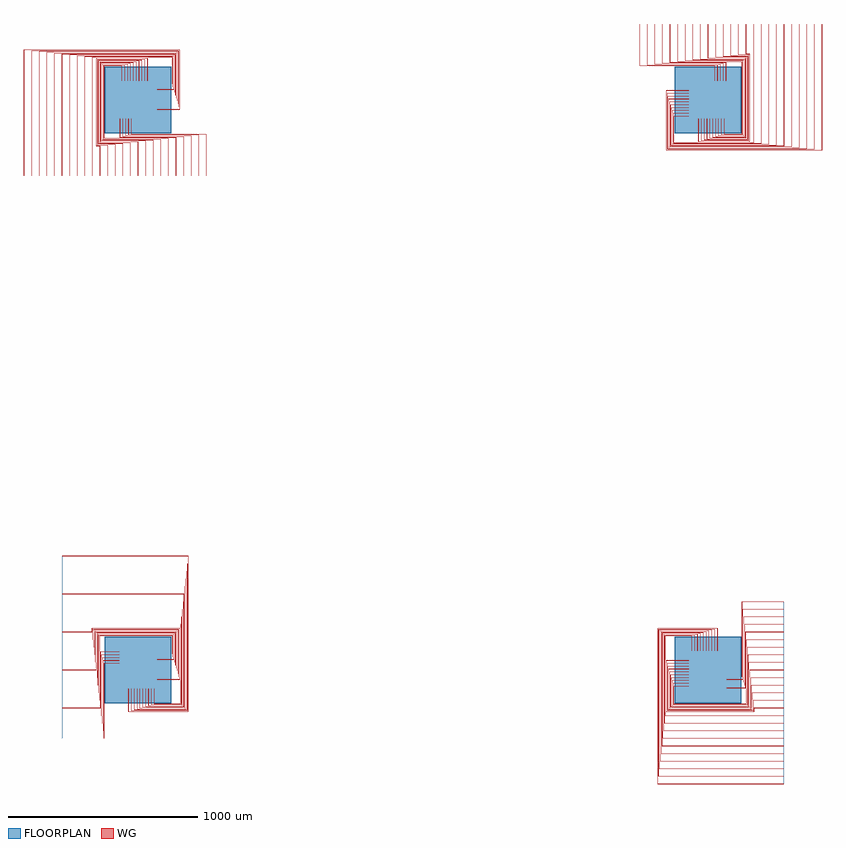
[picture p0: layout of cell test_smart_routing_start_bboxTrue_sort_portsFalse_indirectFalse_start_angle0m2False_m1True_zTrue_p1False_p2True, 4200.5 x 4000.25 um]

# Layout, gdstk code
import gdstk
lib = gdstk.Library(unit=1e-6, precision=1e-09)
def R(c, l, rs):  # rectangles x0, y0, x1, y1
    for r in rs: c.add(gdstk.rectangle(r[:2], r[2:], *l))
def P(c, l, *ps):  # polygons
    for p in ps: c.add(gdstk.Polygon(p, *l))
WG = (1, 0)
FLOORPLAN = (10, 0)

test_smart_routing_start = lib.new_cell('test_smart_routing_start_bboxTrue_sort_portsFalse_indirectFalse_start_angle0m2False_m1True_zTrue_p1False_p2True')
P(test_smart_routing_start, WG, [(-50.25,-220),(-50.25,-100),(-49.75,-100),(-49.75,-219.5),(264.5,-219.5),(264.5,599.75),(-400,599.75),(-400,600.25),(265,600.25),(265,-220)],
  [(-35.25,-215.5),(-35.25,-100),(-34.75,-100),(-34.75,-215),(260,-215),(260,559.75),(-400,559.75),(-400,560.25),(260.5,560.25),(260.5,-215.5)],
  [(-20.25,-211),(-20.25,-100),(-19.75,-100),(-19.75,-210.5),(255.5,-210.5),(255.5,519.75),(-400,519.75),(-400,520.25),(256,520.25),(256,-211)],
  [(-5.25,-206.5),(-5.25,-100),(-4.75,-100),(-4.75,-206),(251,-206),(251,479.75),(-400,479.75),(-400,480.25),(251.5,480.25),(251.5,-206.5)],
  [(9.75,-202),(9.75,-100),(10.25,-100),(10.25,-201.5),(246.5,-201.5),(246.5,439.75),(-400,439.75),(-400,440.25),(247,440.25),(247,-202)],
  [(24.75,-197.5),(24.75,-100),(25.25,-100),(25.25,-197),(242,-197),(242,399.75),(-400,399.75),(-400,400.25),(242.5,400.25),(242.5,-197.5)],
  [(39.75,-193),(39.75,-100),(40.25,-100),(40.25,-192.5),(237.5,-192.5),(237.5,359.75),(-400,359.75),(-400,360.25),(238,360.25),(238,-193)],
  [(54.75,-188.5),(54.75,-100),(55.25,-100),(55.25,-188),(233,-188),(233,319.75),(-400,319.75),(-400,320.25),(233.5,320.25),(233.5,-188.5)],
  [(69.75,-184),(69.75,-100),(70.25,-100),(70.25,-183.5),(228.5,-183.5),(228.5,279.75),(-400,279.75),(-400,280.25),(229,280.25),(229,-184)],
  [(84.75,-179.5),(84.75,-100),(85.25,-100),(85.25,-179),(224,-179),(224,239.75),(-400,239.75),(-400,240.25),(224.5,240.25),(224.5,-179.5)],
  [(100,-50.25),(100,-49.75),(219.5,-49.75),(219.5,219.5),(-242,219.5),(-242,199.75),(-400,199.75),(-400,200.25),(-242.5,200.25),(-242.5,220),(220,220),(220,-50.25)],
  [(100,-35.25),(100,-34.75),(215,-34.75),(215,215),(-237.5,215),(-237.5,159.75),(-400,159.75),(-400,160.25),(-238,160.25),(-238,215.5),(215.5,215.5),(215.5,-35.25)],
  [(100,-20.25),(100,-19.75),(210.5,-19.75),(210.5,210.5),(-233,210.5),(-233,119.75),(-400,119.75),(-400,120.25),(-233.5,120.25),(-233.5,211),(211,211),(211,-20.25)],
  [(100,-5.25),(100,-4.75),(206,-4.75),(206,206),(-228.5,206),(-228.5,79.75),(-400,79.75),(-400,80.25),(-229,80.25),(-229,206.5),(206.5,206.5),(206.5,-5.25)],
  [(100,9.75),(100,10.25),(201.5,10.25),(201.5,201.5),(-224,201.5),(-224,39.75),(-400,39.75),(-400,40.25),(-224.5,40.25),(-224.5,202),(202,202),(202,9.75)],
  [(-400,-0.25),(-400,0.25),(-220,0.25),(-220,197.5),(197.5,197.5),(197.5,24.75),(100,24.75),(100,25.25),(197,25.25),(197,197),(-219.5,197),(-219.5,-0.25)],
  [(-400,-40.25),(-400,-39.75),(-215.5,-39.75),(-215.5,193),(193,193),(193,39.75),(100,39.75),(100,40.25),(192.5,40.25),(192.5,192.5),(-215,192.5),(-215,-40.25)],
  [(-400,-80.25),(-400,-79.75),(-211,-79.75),(-211,188.5),(188.5,188.5),(188.5,54.75),(100,54.75),(100,55.25),(188,55.25),(188,188),(-210.5,188),(-210.5,-80.25)],
  [(-400,-120.25),(-400,-119.75),(-206.5,-119.75),(-206.5,184),(184,184),(184,69.75),(100,69.75),(100,70.25),(183.5,70.25),(183.5,183.5),(-206,183.5),(-206,-120.25)],
  [(-400,-160.25),(-400,-159.75),(-202,-159.75),(-202,179.5),(179.5,179.5),(179.5,84.75),(100,84.75),(100,85.25),(179,85.25),(179,179),(-201.5,179),(-201.5,-160.25)],
  [(-400,-360.25),(-400,-359.75),(-179.5,-359.75),(-179.5,35.25),(-100,35.25),(-100,34.75),(-179,34.75),(-179,-360.25)],
  [(-400,-320.25),(-400,-319.75),(-184,-319.75),(-184,50.25),(-100,50.25),(-100,49.75),(-183.5,49.75),(-183.5,-320.25)],
  [(-400,-280.25),(-400,-279.75),(-188.5,-279.75),(-188.5,65.25),(-100,65.25),(-100,64.75),(-188,64.75),(-188,-280.25)],
  [(-400,-240.25),(-400,-239.75),(-193,-239.75),(-193,80.25),(-100,80.25),(-100,79.75),(-192.5,79.75),(-192.5,-240.25)],
  [(-400,-200.25),(-400,-199.75),(-197.5,-199.75),(-197.5,95.25),(-100,95.25),(-100,94.75),(-197,94.75),(-197,-200.25)],
  [(-600.25,2600),(-600.25,3265),(220,3265),(220,2949.75),(100,2949.75),(100,2950.25),(219.5,2950.25),(219.5,3264.5),(-599.75,3264.5),(-599.75,2600)],
  [(-560.25,2600),(-560.25,3260.5),(215.5,3260.5),(215.5,2964.75),(100,2964.75),(100,2965.25),(215,2965.25),(215,3260),(-559.75,3260),(-559.75,2600)],
  [(-520.25,2600),(-520.25,3256),(211,3256),(211,2979.75),(100,2979.75),(100,2980.25),(210.5,2980.25),(210.5,3255.5),(-519.75,3255.5),(-519.75,2600)],
  [(-480.25,2600),(-480.25,3251.5),(206.5,3251.5),(206.5,2994.75),(100,2994.75),(100,2995.25),(206,2995.25),(206,3251),(-479.75,3251),(-479.75,2600)],
  [(-440.25,2600),(-440.25,3247),(202,3247),(202,3009.75),(100,3009.75),(100,3010.25),(201.5,3010.25),(201.5,3246.5),(-439.75,3246.5),(-439.75,2600)],
  [(-400.25,2600),(-400.25,3242.5),(197.5,3242.5),(197.5,3024.75),(100,3024.75),(100,3025.25),(197,3025.25),(197,3242),(-399.75,3242),(-399.75,2600)],
  [(-360.25,2600),(-360.25,3238),(193,3238),(193,3039.75),(100,3039.75),(100,3040.25),(192.5,3040.25),(192.5,3237.5),(-359.75,3237.5),(-359.75,2600)],
  [(-320.25,2600),(-320.25,3233.5),(188.5,3233.5),(188.5,3054.75),(100,3054.75),(100,3055.25),(188,3055.25),(188,3233),(-319.75,3233),(-319.75,2600)],
  [(-280.25,2600),(-280.25,3229),(184,3229),(184,3069.75),(100,3069.75),(100,3070.25),(183.5,3070.25),(183.5,3228.5),(-279.75,3228.5),(-279.75,2600)],
  [(-240.25,2600),(-240.25,3224.5),(179.5,3224.5),(179.5,3084.75),(100,3084.75),(100,3085.25),(179,3085.25),(179,3224),(-239.75,3224),(-239.75,2600)],
  [(-200.25,2600),(-200.25,2757.5),(-220,2757.5),(-220,3220),(50.25,3220),(50.25,3100),(49.75,3100),(49.75,3219.5),(-219.5,3219.5),(-219.5,2758),(-199.75,2758),(-199.75,2600)],
  [(-160.25,2600),(-160.25,2762),(-215.5,2762),(-215.5,3215.5),(35.25,3215.5),(35.25,3100),(34.75,3100),(34.75,3215),(-215,3215),(-215,2762.5),(-159.75,2762.5),(-159.75,2600)],
  [(-120.25,2600),(-120.25,2766.5),(-211,2766.5),(-211,3211),(20.25,3211),(20.25,3100),(19.75,3100),(19.75,3210.5),(-210.5,3210.5),(-210.5,2767),(-119.75,2767),(-119.75,2600)],
  [(-80.25,2600),(-80.25,2771),(-206.5,2771),(-206.5,3206.5),(5.25,3206.5),(5.25,3100),(4.75,3100),(4.75,3206),(-206,3206),(-206,2771.5),(-79.75,2771.5),(-79.75,2600)],
  [(-40.25,2600),(-40.25,2775.5),(-202,2775.5),(-202,3202),(-9.75,3202),(-9.75,3100),(-10.25,3100),(-10.25,3201.5),(-201.5,3201.5),(-201.5,2776),(-39.75,2776),(-39.75,2600)],
  [(-0.25,2600),(-0.25,2780),(-197.5,2780),(-197.5,3197.5),(-24.75,3197.5),(-24.75,3100),(-25.25,3100),(-25.25,3197),(-197,3197),(-197,2780.5),(0.25,2780.5),(0.25,2600)],
  [(39.75,2600),(39.75,2784.5),(-193,2784.5),(-193,3193),(-39.75,3193),(-39.75,3100),(-40.25,3100),(-40.25,3192.5),(-192.5,3192.5),(-192.5,2785),(40.25,2785),(40.25,2600)],
  [(79.75,2600),(79.75,2789),(-188.5,2789),(-188.5,3188.5),(-54.75,3188.5),(-54.75,3100),(-55.25,3100),(-55.25,3188),(-188,3188),(-188,2789.5),(80.25,2789.5),(80.25,2600)],
  [(119.75,2600),(119.75,2793.5),(-184,2793.5),(-184,3184),(-69.75,3184),(-69.75,3100),(-70.25,3100),(-70.25,3183.5),(-183.5,3183.5),(-183.5,2794),(120.25,2794),(120.25,2600)],
  [(159.75,2600),(159.75,2798),(-179.5,2798),(-179.5,3179.5),(-84.75,3179.5),(-84.75,3100),(-85.25,3100),(-85.25,3179),(-179,3179),(-179,2798.5),(160.25,2798.5),(160.25,2600)],
  [(359.75,2600),(359.75,2820.5),(-35.25,2820.5),(-35.25,2900),(-34.75,2900),(-34.75,2821),(360.25,2821),(360.25,2600)],
  [(319.75,2600),(319.75,2816),(-50.25,2816),(-50.25,2900),(-49.75,2900),(-49.75,2816.5),(320.25,2816.5),(320.25,2600)],
  [(279.75,2600),(279.75,2811.5),(-65.25,2811.5),(-65.25,2900),(-64.75,2900),(-64.75,2812),(280.25,2812),(280.25,2600)],
  [(239.75,2600),(239.75,2807),(-80.25,2807),(-80.25,2900),(-79.75,2900),(-79.75,2807.5),(240.25,2807.5),(240.25,2600)],
  [(199.75,2600),(199.75,2802.5),(-95.25,2802.5),(-95.25,2900),(-94.75,2900),(-94.75,2803),(200.25,2803),(200.25,2600)],
  [(2735,-600.25),(2735,220),(3050.25,220),(3050.25,100),(3049.75,100),(3049.75,219.5),(2735.5,219.5),(2735.5,-599.75),(3400,-599.75),(3400,-600.25)],
  [(2739.5,-560.25),(2739.5,215.5),(3035.25,215.5),(3035.25,100),(3034.75,100),(3034.75,215),(2740,215),(2740,-559.75),(3400,-559.75),(3400,-560.25)],
  [(2744,-520.25),(2744,211),(3020.25,211),(3020.25,100),(3019.75,100),(3019.75,210.5),(2744.5,210.5),(2744.5,-519.75),(3400,-519.75),(3400,-520.25)],
  [(2748.5,-480.25),(2748.5,206.5),(3005.25,206.5),(3005.25,100),(3004.75,100),(3004.75,206),(2749,206),(2749,-479.75),(3400,-479.75),(3400,-480.25)],
  [(2753,-440.25),(2753,202),(2990.25,202),(2990.25,100),(2989.75,100),(2989.75,201.5),(2753.5,201.5),(2753.5,-439.75),(3400,-439.75),(3400,-440.25)],
  [(2757.5,-400.25),(2757.5,197.5),(2975.25,197.5),(2975.25,100),(2974.75,100),(2974.75,197),(2758,197),(2758,-399.75),(3400,-399.75),(3400,-400.25)],
  [(2762,-360.25),(2762,193),(2960.25,193),(2960.25,100),(2959.75,100),(2959.75,192.5),(2762.5,192.5),(2762.5,-359.75),(3400,-359.75),(3400,-360.25)],
  [(2766.5,-320.25),(2766.5,188.5),(2945.25,188.5),(2945.25,100),(2944.75,100),(2944.75,188),(2767,188),(2767,-319.75),(3400,-319.75),(3400,-320.25)],
  [(2771,-280.25),(2771,184),(2930.25,184),(2930.25,100),(2929.75,100),(2929.75,183.5),(2771.5,183.5),(2771.5,-279.75),(3400,-279.75),(3400,-280.25)],
  [(2775.5,-240.25),(2775.5,179.5),(2915.25,179.5),(2915.25,100),(2914.75,100),(2914.75,179),(2776,179),(2776,-239.75),(3400,-239.75),(3400,-240.25)],
  [(2780,-220),(2780,50.25),(2900,50.25),(2900,49.75),(2780.5,49.75),(2780.5,-219.5),(3242,-219.5),(3242,-199.75),(3400,-199.75),(3400,-200.25),(3242.5,-200.25),(3242.5,-220)],
  [(2784.5,-215.5),(2784.5,35.25),(2900,35.25),(2900,34.75),(2785,34.75),(2785,-215),(3237.5,-215),(3237.5,-159.75),(3400,-159.75),(3400,-160.25),(3238,-160.25),(3238,-215.5)],
  [(2789,-211),(2789,20.25),(2900,20.25),(2900,19.75),(2789.5,19.75),(2789.5,-210.5),(3233,-210.5),(3233,-119.75),(3400,-119.75),(3400,-120.25),(3233.5,-120.25),(3233.5,-211)],
  [(2793.5,-206.5),(2793.5,5.25),(2900,5.25),(2900,4.75),(2794,4.75),(2794,-206),(3228.5,-206),(3228.5,-79.75),(3400,-79.75),(3400,-80.25),(3229,-80.25),(3229,-206.5)],
  [(2798,-202),(2798,-9.75),(2900,-9.75),(2900,-10.25),(2798.5,-10.25),(2798.5,-201.5),(3224,-201.5),(3224,-39.75),(3400,-39.75),(3400,-40.25),(3224.5,-40.25),(3224.5,-202)],
  [(2802.5,-197.5),(2802.5,-24.75),(2900,-24.75),(2900,-25.25),(2803,-25.25),(2803,-197),(3219.5,-197),(3219.5,0.25),(3400,0.25),(3400,-0.25),(3220,-0.25),(3220,-197.5)],
  [(2807,-193),(2807,-39.75),(2900,-39.75),(2900,-40.25),(2807.5,-40.25),(2807.5,-192.5),(3215,-192.5),(3215,40.25),(3400,40.25),(3400,39.75),(3215.5,39.75),(3215.5,-193)],
  [(2811.5,-188.5),(2811.5,-54.75),(2900,-54.75),(2900,-55.25),(2812,-55.25),(2812,-188),(3210.5,-188),(3210.5,80.25),(3400,80.25),(3400,79.75),(3211,79.75),(3211,-188.5)],
  [(2816,-184),(2816,-69.75),(2900,-69.75),(2900,-70.25),(2816.5,-70.25),(2816.5,-183.5),(3206,-183.5),(3206,120.25),(3400,120.25),(3400,119.75),(3206.5,119.75),(3206.5,-184)],
  [(2820.5,-179.5),(2820.5,-84.75),(2900,-84.75),(2900,-85.25),(2821,-85.25),(2821,-179),(3201.5,-179),(3201.5,160.25),(3400,160.25),(3400,159.75),(3202,159.75),(3202,-179.5)],
  [(3100,-35.25),(3100,-34.75),(3179,-34.75),(3179,360.25),(3400,360.25),(3400,359.75),(3179.5,359.75),(3179.5,-35.25)],
  [(3100,-50.25),(3100,-49.75),(3183.5,-49.75),(3183.5,320.25),(3400,320.25),(3400,319.75),(3184,319.75),(3184,-50.25)],
  [(3100,-65.25),(3100,-64.75),(3188,-64.75),(3188,280.25),(3400,280.25),(3400,279.75),(3188.5,279.75),(3188.5,-65.25)],
  [(3100,-80.25),(3100,-79.75),(3192.5,-79.75),(3192.5,240.25),(3400,240.25),(3400,239.75),(3193,239.75),(3193,-80.25)],
  [(3100,-95.25),(3100,-94.75),(3197,-94.75),(3197,200.25),(3400,200.25),(3400,199.75),(3197.5,199.75),(3197.5,-95.25)],
  [(2780,2735),(2780,3050.25),(2900,3050.25),(2900,3049.75),(2780.5,3049.75),(2780.5,2735.5),(3599.75,2735.5),(3599.75,3400),(3600.25,3400),(3600.25,2735)],
  [(2784.5,2739.5),(2784.5,3035.25),(2900,3035.25),(2900,3034.75),(2785,3034.75),(2785,2740),(3559.75,2740),(3559.75,3400),(3560.25,3400),(3560.25,2739.5)],
  [(2789,2744),(2789,3020.25),(2900,3020.25),(2900,3019.75),(2789.5,3019.75),(2789.5,2744.5),(3519.75,2744.5),(3519.75,3400),(3520.25,3400),(3520.25,2744)],
  [(2793.5,2748.5),(2793.5,3005.25),(2900,3005.25),(2900,3004.75),(2794,3004.75),(2794,2749),(3479.75,2749),(3479.75,3400),(3480.25,3400),(3480.25,2748.5)],
  [(2798,2753),(2798,2990.25),(2900,2990.25),(2900,2989.75),(2798.5,2989.75),(2798.5,2753.5),(3439.75,2753.5),(3439.75,3400),(3440.25,3400),(3440.25,2753)],
  [(2802.5,2757.5),(2802.5,2975.25),(2900,2975.25),(2900,2974.75),(2803,2974.75),(2803,2758),(3399.75,2758),(3399.75,3400),(3400.25,3400),(3400.25,2757.5)],
  [(2807,2762),(2807,2960.25),(2900,2960.25),(2900,2959.75),(2807.5,2959.75),(2807.5,2762.5),(3359.75,2762.5),(3359.75,3400),(3360.25,3400),(3360.25,2762)],
  [(2811.5,2766.5),(2811.5,2945.25),(2900,2945.25),(2900,2944.75),(2812,2944.75),(2812,2767),(3319.75,2767),(3319.75,3400),(3320.25,3400),(3320.25,2766.5)],
  [(2816,2771),(2816,2930.25),(2900,2930.25),(2900,2929.75),(2816.5,2929.75),(2816.5,2771.5),(3279.75,2771.5),(3279.75,3400),(3280.25,3400),(3280.25,2771)],
  [(2820.5,2775.5),(2820.5,2915.25),(2900,2915.25),(2900,2914.75),(2821,2914.75),(2821,2776),(3239.75,2776),(3239.75,3400),(3240.25,3400),(3240.25,2775.5)],
  [(2949.75,2780),(2949.75,2900),(2950.25,2900),(2950.25,2780.5),(3219.5,2780.5),(3219.5,3242),(3199.75,3242),(3199.75,3400),(3200.25,3400),(3200.25,3242.5),(3220,3242.5),(3220,2780)],
  [(2964.75,2784.5),(2964.75,2900),(2965.25,2900),(2965.25,2785),(3215,2785),(3215,3237.5),(3159.75,3237.5),(3159.75,3400),(3160.25,3400),(3160.25,3238),(3215.5,3238),(3215.5,2784.5)],
  [(2979.75,2789),(2979.75,2900),(2980.25,2900),(2980.25,2789.5),(3210.5,2789.5),(3210.5,3233),(3119.75,3233),(3119.75,3400),(3120.25,3400),(3120.25,3233.5),(3211,3233.5),(3211,2789)],
  [(2994.75,2793.5),(2994.75,2900),(2995.25,2900),(2995.25,2794),(3206,2794),(3206,3228.5),(3079.75,3228.5),(3079.75,3400),(3080.25,3400),(3080.25,3229),(3206.5,3229),(3206.5,2793.5)],
  [(3009.75,2798),(3009.75,2900),(3010.25,2900),(3010.25,2798.5),(3201.5,2798.5),(3201.5,3224),(3039.75,3224),(3039.75,3400),(3040.25,3400),(3040.25,3224.5),(3202,3224.5),(3202,2798)],
  [(3024.75,2802.5),(3024.75,2900),(3025.25,2900),(3025.25,2803),(3197,2803),(3197,3219.5),(2999.75,3219.5),(2999.75,3400),(3000.25,3400),(3000.25,3220),(3197.5,3220),(3197.5,2802.5)],
  [(3039.75,2807),(3039.75,2900),(3040.25,2900),(3040.25,2807.5),(3192.5,2807.5),(3192.5,3215),(2959.75,3215),(2959.75,3400),(2960.25,3400),(2960.25,3215.5),(3193,3215.5),(3193,2807)],
  [(3054.75,2811.5),(3054.75,2900),(3055.25,2900),(3055.25,2812),(3188,2812),(3188,3210.5),(2919.75,3210.5),(2919.75,3400),(2920.25,3400),(2920.25,3211),(3188.5,3211),(3188.5,2811.5)],
  [(3069.75,2816),(3069.75,2900),(3070.25,2900),(3070.25,2816.5),(3183.5,2816.5),(3183.5,3206),(2879.75,3206),(2879.75,3400),(2880.25,3400),(2880.25,3206.5),(3184,3206.5),(3184,2816)],
  [(3084.75,2820.5),(3084.75,2900),(3085.25,2900),(3085.25,2821),(3179,2821),(3179,3201.5),(2839.75,3201.5),(2839.75,3400),(2840.25,3400),(2840.25,3202),(3179.5,3202),(3179.5,2820.5)],
  [(3034.75,3100),(3034.75,3179),(2639.75,3179),(2639.75,3400),(2640.25,3400),(2640.25,3179.5),(3035.25,3179.5),(3035.25,3100)],
  [(3049.75,3100),(3049.75,3183.5),(2679.75,3183.5),(2679.75,3400),(2680.25,3400),(2680.25,3184),(3050.25,3184),(3050.25,3100)],
  [(3064.75,3100),(3064.75,3188),(2719.75,3188),(2719.75,3400),(2720.25,3400),(2720.25,3188.5),(3065.25,3188.5),(3065.25,3100)],
  [(3079.75,3100),(3079.75,3192.5),(2759.75,3192.5),(2759.75,3400),(2760.25,3400),(2760.25,3193),(3080.25,3193),(3080.25,3100)],
  [(3094.75,3100),(3094.75,3197),(2799.75,3197),(2799.75,3400),(2800.25,3400),(2800.25,3197.5),(3095.25,3197.5),(3095.25,3100)])
R(test_smart_routing_start, FLOORPLAN, [(-175,-175,175,175), (2825,-175,3175,175), (-175,2825,175,3175), (2825,2825,3175,3175)])
P(test_smart_routing_start, FLOORPLAN, [(-400,-360),(-400,600),(-400,600),(-400,-360)],
  [(-600,2600),(-600,2600),(360,2600),(360,2600)],
  [(3400,-600),(3400,360),(3400,360),(3400,-600)],
  [(2640,3400),(2640,3400),(3600,3400),(3600,3400)])

lib.write_gds('test_smart_routing_start_bboxTrue_sort_portsFalse_indirectFalse_start_angle0m2False_m1True_zTrue_p1False_p2True.gds')
